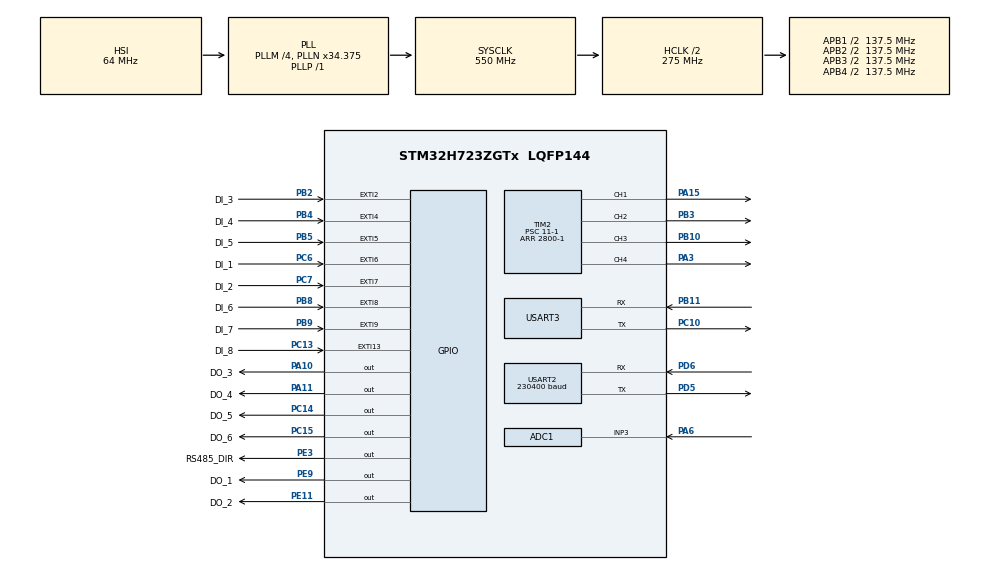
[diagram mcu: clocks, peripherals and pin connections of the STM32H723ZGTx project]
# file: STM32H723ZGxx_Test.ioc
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ADC1.Channel-0\#ChannelRegularConversion=ADC_CHANNEL_3
ADC1.ClockPrescaler=ADC_CLOCK_ASYNC_DIV10
ADC1.NbrOfConversion=1
ADC1.NbrOfConversionFlag=1
ADC1.OffsetNumber-0\#ChannelRegularConversion=ADC_OFFSET_NONE
ADC1.OffsetSignedSaturation-0\#ChannelRegularConversion=DISABLE
ADC1.Rank-0\#ChannelRegularConversion=1
ADC1.Resolution=ADC_RESOLUTION_12B
ADC1.SamplingTime-0\#ChannelRegularConversion=ADC_SAMPLETIME_387CYCLES_5
ADC1.master=1
Dma.Request0=USART2_RX
Dma.Request1=USART2_TX
Dma.USART2_RX.0.Direction=DMA_PERIPH_TO_MEMORY
Dma.USART2_RX.0.EventEnable=DISABLE
Dma.USART2_RX.0.FIFOMode=DMA_FIFOMODE_DISABLE
Dma.USART2_RX.0.Instance=DMA1_Stream0
Dma.USART2_RX.0.MemDataAlignment=DMA_MDATAALIGN_BYTE
Dma.USART2_RX.0.MemInc=DMA_MINC_ENABLE
Dma.USART2_RX.0.Mode=DMA_NORMAL
Dma.USART2_RX.0.PeriphDataAlignment=DMA_PDATAALIGN_BYTE
Dma.USART2_RX.0.PeriphInc=DMA_PINC_DISABLE
Dma.USART2_RX.0.Polarity=HAL_DMAMUX_REQ_GEN_RISING
Dma.USART2_RX.0.Priority=DMA_PRIORITY_VERY_HIGH
Dma.USART2_RX.0.RequestNumber=1
Dma.USART2_RX.0.SignalID=NONE
Dma.USART2_RX.0.SyncEnable=DISABLE
Dma.USART2_RX.0.SyncPolarity=HAL_DMAMUX_SYNC_NO_EVENT
Dma.USART2_RX.0.SyncRequestNumber=1
Dma.USART2_RX.0.SyncSignalID=NONE
Dma.USART2_TX.1.Direction=DMA_MEMORY_TO_PERIPH
Dma.USART2_TX.1.EventEnable=DISABLE
Dma.USART2_TX.1.FIFOMode=DMA_FIFOMODE_DISABLE
Dma.USART2_TX.1.Instance=DMA1_Stream1
Dma.USART2_TX.1.MemDataAlignment=DMA_MDATAALIGN_BYTE
Dma.USART2_TX.1.MemInc=DMA_MINC_ENABLE
Dma.USART2_TX.1.Mode=DMA_NORMAL
Dma.USART2_TX.1.PeriphDataAlignment=DMA_PDATAALIGN_BYTE
Dma.USART2_TX.1.PeriphInc=DMA_PINC_DISABLE
Dma.USART2_TX.1.Polarity=HAL_DMAMUX_REQ_GEN_RISING
Dma.USART2_TX.1.Priority=DMA_PRIORITY_VERY_HIGH
Dma.USART2_TX.1.RequestNumber=1
Dma.USART2_TX.1.SignalID=NONE
Dma.USART2_TX.1.SyncEnable=DISABLE
Dma.USART2_TX.1.SyncPolarity=HAL_DMAMUX_SYNC_NO_EVENT
Dma.USART2_TX.1.SyncRequestNumber=1
Dma.USART2_TX.1.SyncSignalID=NONE
Mcu.Family=STM32H7
Mcu.Name=STM32H723ZGTx
Mcu.Package=LQFP144
NVIC.DMA1_Stream0_IRQn=true\:0\:0\:false\:false\:true\:false\:true
NVIC.DMA1_Stream1_IRQn=true\:0\:0\:false\:false\:true\:false\:true
NVIC.EXTI15_10_IRQn=true\:5\:0\:true\:false\:true\:true\:true
NVIC.EXTI2_IRQn=true\:5\:0\:true\:false\:true\:true\:true
NVIC.EXTI4_IRQn=true\:5\:0\:true\:false\:true\:true\:true
NVIC.EXTI9_5_IRQn=true\:5\:0\:true\:false\:true\:true\:true
NVIC.PriorityGroup=NVIC_PRIORITYGROUP_4
NVIC.TIM4_IRQn=true\:3\:0\:true\:false\:true\:true\:true
NVIC.TIM6_DAC_IRQn=true\:3\:0\:true\:false\:true\:true\:true
NVIC.USART2_IRQn=true\:0\:0\:false\:false\:true\:true\:true
PA10.GPIO_Label=DO_3
PA10.GPIO_Speed=GPIO_SPEED_FREQ_VERY_HIGH
PA10.Signal=GPIO_Output
PA11.GPIO_Label=DO_4
PA11.GPIO_Speed=GPIO_SPEED_FREQ_VERY_HIGH
PA11.Signal=GPIO_Output
PA15(JTDI).Signal=S_TIM2_CH1_ETR
PA3.Signal=S_TIM2_CH4
PA6.Signal=ADCx_INP3
PB10.Signal=S_TIM2_CH3
PB11.Mode=Asynchronous
PB11.Signal=USART3_RX
PB2.GPIO_Label=DI_3
PB2.Signal=GPXTI2
PB3(JTDO/TRACESWO).Signal=S_TIM2_CH2
PB4(NJTRST).GPIO_Label=DI_4
PB4(NJTRST).Signal=GPXTI4
PB5.GPIO_Label=DI_5
PB5.Signal=GPXTI5
PB8.GPIO_Label=DI_6
PB8.Signal=GPXTI8
PB9.GPIO_Label=DI_7
PB9.Signal=GPXTI9
PC10.Mode=Asynchronous
PC10.Signal=USART3_TX
PC13.GPIO_Label=DI_8
PC13.Signal=GPXTI13
PC14-OSC32_IN.GPIO_Label=DO_5
PC14-OSC32_IN.Signal=GPIO_Output
PC15-OSC32_OUT.GPIO_Label=DO_6
PC15-OSC32_OUT.Signal=GPIO_Output
PC6.GPIO_Label=DI_1
PC6.Signal=GPXTI6
PC7.GPIO_Label=DI_2
PC7.Signal=GPXTI7
PD5.GPIO_Speed=GPIO_SPEED_FREQ_VERY_HIGH
PD5.Mode=Asynchronous
PD5.Signal=USART2_TX
PD6.GPIO_Speed=GPIO_SPEED_FREQ_VERY_HIGH
PD6.Mode=Asynchronous
PD6.Signal=USART2_RX
PE11.GPIO_Label=DO_2
PE11.GPIO_Speed=GPIO_SPEED_FREQ_VERY_HIGH
PE11.Signal=GPIO_Output
PE3.GPIO_Label=RS485_DIR
PE3.GPIO_Speed=GPIO_SPEED_FREQ_VERY_HIGH
PE3.Signal=GPIO_Output
PE9.GPIO_Label=DO_1
PE9.GPIO_Speed=GPIO_SPEED_FREQ_VERY_HIGH
PE9.Signal=GPIO_Output
ProjectManager.HeapSize=0x200
ProjectManager.StackSize=0x400
ProjectManager.TargetToolchain=STM32CubeIDE
RCC.ADCFreq_Value=96000000
RCC.APB1Freq_Value=137500000
RCC.APB2Freq_Value=137500000
RCC.APB3Freq_Value=137500000
RCC.APB4Freq_Value=137500000
RCC.CortexFreq_Value=550000000
RCC.D1PPRE=RCC_APB3_DIV2
RCC.D2PPRE1=RCC_APB1_DIV2
RCC.D2PPRE2=RCC_APB2_DIV2
RCC.D3PPRE=RCC_APB4_DIV2
RCC.DIVM1=4
RCC.DIVM2=4
RCC.DIVN1=34
RCC.DIVN2=12
RCC.DIVP1=1
RCC.HCLKFreq_Value=275000000
RCC.HPRE=RCC_HCLK_DIV2
RCC.PLL2FRACN=0
RCC.PLLFRACN=3072
RCC.SYSCLKFreq_VALUE=550000000
RCC.SYSCLKSource=RCC_SYSCLKSOURCE_PLLCLK
RCC.USBFreq_Value=275000000
SH.ADCx_INP3.0=ADC1_INP3,IN3-Single-Ended
SH.S_TIM2_CH1_ETR.0=TIM2_CH1,PWM Generation1 CH1
SH.S_TIM2_CH2.0=TIM2_CH2,PWM Generation2 CH2
SH.S_TIM2_CH3.0=TIM2_CH3,PWM Generation3 CH3
SH.S_TIM2_CH4.0=TIM2_CH4,PWM Generation4 CH4
TIM2.Channel-PWM\ Generation1\ CH1=TIM_CHANNEL_1
TIM2.Channel-PWM\ Generation2\ CH2=TIM_CHANNEL_2
TIM2.Channel-PWM\ Generation3\ CH3=TIM_CHANNEL_3
TIM2.Channel-PWM\ Generation4\ CH4=TIM_CHANNEL_4
TIM2.Period=2800-1
TIM2.Prescaler=11-1
TIM2.TIM_MasterOutputTrigger=TIM_TRGO_ENABLE
TIM4.Period=1563
TIM4.Prescaler=275-1
TIM6.Period=3647
TIM6.Prescaler=275-1
USART2.BaudRate=230400
USART2.OverSampling=UART_OVERSAMPLING_8
USART2.Parity=PARITY_EVEN
USART2.VirtualMode-Asynchronous=VM_ASYNC
USART2.WordLength=WORDLENGTH_9B
USART3.VirtualMode-Asynchronous=VM_ASYNC
VP_TIM2_VS_ClockSourceINT.Mode=Internal
VP_TIM4_VS_ClockSourceINT.Mode=Internal
VP_TIM6_VS_ClockSourceINT.Mode=Enable_Timer
board=custom

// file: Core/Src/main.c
/* USER CODE BEGIN Header */
/**
  ******************************************************************************
  * @file           : main.c
  * @brief          : Main program body
  ******************************************************************************
  * @attention
  *
  * Copyright (c) 2024 STMicroelectronics.
  * All rights reserved.
  *
  * This software is licensed under terms that can be found in the LICENSE file
  * in the root directory of this software component.
  * If no LICENSE file comes with this software, it is provided AS-IS.
  *
  ******************************************************************************
  */
/* USER CODE END Header */
#include "main.h"

/* USER CODE BEGIN Includes */
#include "stdio.h"
#include "string.h"
/* USER CODE END Includes */

ADC_HandleTypeDef hadc1;

TIM_HandleTypeDef htim2;
TIM_HandleTypeDef htim4;
TIM_HandleTypeDef htim6;

UART_HandleTypeDef huart2;
UART_HandleTypeDef huart3;
DMA_HandleTypeDef hdma_usart2_rx;
DMA_HandleTypeDef hdma_usart2_tx;

void SystemClock_Config(void);
static void MX_GPIO_Init(void);
static void MX_ADC1_Init(void);
static void MX_USART3_UART_Init(void);
static void MX_TIM2_Init(void);
static void MX_USART2_UART_Init(void);
static void MX_TIM4_Init(void);
static void MX_DMA_Init(void);
static void MX_TIM6_Init(void);

/* USER CODE BEGIN 0 */

void ADC_Select_CH0 (void)
{
	ADC_ChannelConfTypeDef sConfig = {0};
	  /** Configure for the selected ADC regular channel its corresponding rank in the sequencer and its sample time.
	  */
	  sConfig.Channel = ADC_CHANNEL_3;
	  sConfig.Rank = ADC_REGULAR_RANK_1;
	  sConfig.SamplingTime = ADC_SAMPLETIME_64CYCLES_5;
	  sConfig.SingleDiff = ADC_SINGLE_ENDED;
	  sConfig.OffsetNumber = ADC_OFFSET_NONE;
	  sConfig.Offset = 0;
	  sConfig.OffsetSignedSaturation = DISABLE;
	  if (HAL_ADC_ConfigChannel(&hadc1, &sConfig) != HAL_OK)
	  {
	    Error_Handler();
	  }
}

void ADC_Select_CH1 (void)
{
	ADC_ChannelConfTypeDef sConfig = {0};
	  /** Configure for the selected ADC regular channel its corresponding rank in the sequencer and its sample time.
	  */
	  sConfig.Channel = ADC_CHANNEL_5;
	  sConfig.Rank = ADC_REGULAR_RANK_1;
	  sConfig.SamplingTime = ADC_SAMPLETIME_64CYCLES_5;
	  sConfig.SingleDiff = ADC_SINGLE_ENDED;
	  sConfig.OffsetNumber = ADC_OFFSET_NONE;
	  sConfig.Offset = 0;
	  sConfig.OffsetSignedSaturation = DISABLE;
	  if (HAL_ADC_ConfigChannel(&hadc1, &sConfig) != HAL_OK)
	  {
	    Error_Handler();
	  }
}

void HAL_UART_TxCpltCallback(UART_HandleTypeDef* huart){
	uint8_t pData[10] = {0};
	uint8_t len;
	len = sprintf((char*)pData,"RTU_TXC\r\n");
	HAL_UART_Transmit(&huart3, pData, len, len);
	HAL_GPIO_WritePin(RS485_DIR_GPIO_Port, RS485_DIR_Pin, GPIO_PIN_RESET);
}

/* USER CODE END 0 */

int main(void)
{

  /* MCU Configuration--------------------------------------------------------*/

  /* Reset of all peripherals, Initializes the Flash interface and the Systick. */
  HAL_Init();

  /* Configure the system clock */
  SystemClock_Config();

  /* USER CODE BEGIN SysInit */
  MX_DMA_Init();
  /* USER CODE END SysInit */

  /* Initialize all configured peripherals */
  MX_GPIO_Init();
  MX_ADC1_Init();
  MX_USART3_UART_Init();
  MX_TIM2_Init();
  MX_USART2_UART_Init();
  MX_TIM4_Init();

  MX_TIM6_Init();
  /* USER CODE BEGIN 2 */
  uint16_t duty = 0;
  uint8_t pData[100] = {0};
  uint16_t len = 0;
uint32_t tick = 0;
uint16_t ADC_VAL[2] = {0};
len = sprintf((char*)pData,"Started...\r\n");
HAL_UART_Transmit(&huart3,pData , len, len+2);

	HAL_StatusTypeDef status =  HAL_ADCEx_Calibration_Start(&hadc1, ADC_CALIB_OFFSET_LINEARITY, ADC_SINGLE_ENDED);

	if(status != HAL_OK){
		len = sprintf((char*)pData,"status1: %d\r\n", status);
		HAL_UART_Transmit(&huart3, pData, len, 10);
	}

	status =  HAL_ADC_Start(&hadc1);
	if(status != HAL_OK){
		len = sprintf((char*)pData,"status2: %d\r\n", status);
		HAL_UART_Transmit(&huart3, pData, len, 10);
	}
	status =  HAL_ADC_PollForConversion(&hadc1, 10);
	if(status != HAL_OK){
		len = sprintf((char*)pData,"status3: %d\r\n", status);
		HAL_UART_Transmit(&huart3, pData, len, 10);
	}
	ADC_VAL[0] = HAL_ADC_GetValue(&hadc1);
//	HAL_ADC_Stop(&hadc1);
	len = sprintf((char*)pData,"ADC: %d\r\n", ADC_VAL[0]);
	HAL_UART_Transmit(&huart3, pData, len, 10);

	HAL_UARTEx_ReceiveToIdle_DMA(&huart2,  pData, 100);
	HAL_TIM_Base_Start_IT(&htim4);
	HAL_TIM_Base_Start_IT(&htim6);
  /* USER CODE END 2 */

  /* Infinite loop */
  /* USER CODE BEGIN WHILE */
  while (1)
  {
	  if(HAL_GetTick() - tick >= 3000){

		  HAL_GPIO_WritePin(RS485_DIR_GPIO_Port, RS485_DIR_Pin, GPIO_PIN_SET);
		  HAL_Delay(1);
//		  HAL_UART_Transmit(&huart2, (uint8_t *)"Test\r\n", 6, 10);
		  HAL_UART_Transmit_DMA(&huart2, (uint8_t *)"Test\r\n", 6);
		  HAL_Delay(100);
		  HAL_GPIO_WritePin(RS485_DIR_GPIO_Port, RS485_DIR_Pin, GPIO_PIN_RESET);

		  HAL_UART_Transmit_DMA(&huart3, pData, 6);

		  duty= 1000;
		  if(duty >= 4096) duty = 0;
		  htim2.Instance->CCR1 = duty;
//		  HAL_TIM_PWM_Start(&htim2, TIM_CHANNEL_1);

			ADC_VAL[0] = HAL_ADC_GetValue(&hadc1);
		//	HAL_ADC_Stop(&hadc1);
			len = sprintf((char*)pData,"ADC: %d\r\n", ADC_VAL[0]);
			HAL_UART_Transmit(&huart3, pData, len, 10);

//		  HAL_GPIO_TogglePin(DO_1_GPIO_Port, DO_1_Pin);
//		  HAL_GPIO_TogglePin(DO_2_GPIO_Port, DO_2_Pin);
		  HAL_GPIO_TogglePin(DO_5_GPIO_Port, DO_5_Pin);
		  HAL_GPIO_TogglePin(DO_6_GPIO_Port, DO_6_Pin);
//		  ADC_Select_CH0();

		  tick = HAL_GetTick();
	  }

    /* USER CODE END WHILE */

  }
}

void SystemClock_Config(void)
{
  RCC_OscInitTypeDef RCC_OscInitStruct = {0};
  RCC_ClkInitTypeDef RCC_ClkInitStruct = {0};

  /** Supply configuration update enable
  */
  HAL_PWREx_ConfigSupply(PWR_LDO_SUPPLY);
  /** Configure the main internal regulator output voltage
  */
  __HAL_PWR_VOLTAGESCALING_CONFIG(PWR_REGULATOR_VOLTAGE_SCALE0);

  while(!__HAL_PWR_GET_FLAG(PWR_FLAG_VOSRDY)) {}
  /** Macro to configure the PLL clock source
  */
  __HAL_RCC_PLL_PLLSOURCE_CONFIG(RCC_PLLSOURCE_HSI);
  /** Initializes the RCC Oscillators according to the specified parameters
  * in the RCC_OscInitTypeDef structure.
  */
  RCC_OscInitStruct.OscillatorType = RCC_OSCILLATORTYPE_HSI;
  RCC_OscInitStruct.HSIState = RCC_HSI_DIV1;
  RCC_OscInitStruct.HSICalibrationValue = RCC_HSICALIBRATION_DEFAULT;
  RCC_OscInitStruct.PLL.PLLState = RCC_PLL_ON;
  RCC_OscInitStruct.PLL.PLLSource = RCC_PLLSOURCE_HSI;
  RCC_OscInitStruct.PLL.PLLM = 4;
  RCC_OscInitStruct.PLL.PLLN = 34;
  RCC_OscInitStruct.PLL.PLLP = 1;
  RCC_OscInitStruct.PLL.PLLQ = 2;
  RCC_OscInitStruct.PLL.PLLR = 2;
  RCC_OscInitStruct.PLL.PLLRGE = RCC_PLL1VCIRANGE_3;
  RCC_OscInitStruct.PLL.PLLVCOSEL = RCC_PLL1VCOWIDE;
  RCC_OscInitStruct.PLL.PLLFRACN = 3072;
  if (HAL_RCC_OscConfig(&RCC_OscInitStruct) != HAL_OK)
  {
    Error_Handler();
  }
  /** Initializes the CPU, AHB and APB buses clocks
  */
  RCC_ClkInitStruct.ClockType = RCC_CLOCKTYPE_HCLK|RCC_CLOCKTYPE_SYSCLK
                              |RCC_CLOCKTYPE_PCLK1|RCC_CLOCKTYPE_PCLK2
                              |RCC_CLOCKTYPE_D3PCLK1|RCC_CLOCKTYPE_D1PCLK1;
  RCC_ClkInitStruct.SYSCLKSource = RCC_SYSCLKSOURCE_PLLCLK;
  RCC_ClkInitStruct.SYSCLKDivider = RCC_SYSCLK_DIV1;
  RCC_ClkInitStruct.AHBCLKDivider = RCC_HCLK_DIV2;
  RCC_ClkInitStruct.APB3CLKDivider = RCC_APB3_DIV2;
  RCC_ClkInitStruct.APB1CLKDivider = RCC_APB1_DIV2;
  RCC_ClkInitStruct.APB2CLKDivider = RCC_APB2_DIV2;
  RCC_ClkInitStruct.APB4CLKDivider = RCC_APB4_DIV2;

  if (HAL_RCC_ClockConfig(&RCC_ClkInitStruct, FLASH_LATENCY_3) != HAL_OK)
  {
    Error_Handler();
  }
}

static void MX_ADC1_Init(void)
{

  ADC_MultiModeTypeDef multimode = {0};
  ADC_ChannelConfTypeDef sConfig = {0};

  /** Common config
  */
  hadc1.Instance = ADC1;
  hadc1.Init.ClockPrescaler = ADC_CLOCK_ASYNC_DIV10;
  hadc1.Init.Resolution = ADC_RESOLUTION_12B;
  hadc1.Init.ScanConvMode = ADC_SCAN_DISABLE;
  hadc1.Init.EOCSelection = ADC_EOC_SINGLE_CONV;
  hadc1.Init.LowPowerAutoWait = DISABLE;
  hadc1.Init.ContinuousConvMode = DISABLE;
  hadc1.Init.NbrOfConversion = 1;
  hadc1.Init.DiscontinuousConvMode = DISABLE;
  hadc1.Init.ExternalTrigConv = ADC_SOFTWARE_START;
  hadc1.Init.ExternalTrigConvEdge = ADC_EXTERNALTRIGCONVEDGE_NONE;
  hadc1.Init.ConversionDataManagement = ADC_CONVERSIONDATA_DR;
  hadc1.Init.Overrun = ADC_OVR_DATA_PRESERVED;
  hadc1.Init.LeftBitShift = ADC_LEFTBITSHIFT_NONE;
  hadc1.Init.OversamplingMode = DISABLE;
  if (HAL_ADC_Init(&hadc1) != HAL_OK)
  {
    Error_Handler();
  }
  /** Configure the ADC multi-mode
  */
  multimode.Mode = ADC_MODE_INDEPENDENT;
  if (HAL_ADCEx_MultiModeConfigChannel(&hadc1, &multimode) != HAL_OK)
  {
    Error_Handler();
  }
  /** Configure Regular Channel
  */
  sConfig.Channel = ADC_CHANNEL_3;
  sConfig.Rank = ADC_REGULAR_RANK_1;
  sConfig.SamplingTime = ADC_SAMPLETIME_387CYCLES_5;
  sConfig.SingleDiff = ADC_SINGLE_ENDED;
  sConfig.OffsetNumber = ADC_OFFSET_NONE;
  sConfig.Offset = 0;
  sConfig.OffsetSignedSaturation = DISABLE;
  if (HAL_ADC_ConfigChannel(&hadc1, &sConfig) != HAL_OK)
  {
    Error_Handler();
  }

}

static void MX_TIM2_Init(void)
{

  TIM_ClockConfigTypeDef sClockSourceConfig = {0};
  TIM_MasterConfigTypeDef sMasterConfig = {0};
  TIM_OC_InitTypeDef sConfigOC = {0};

  htim2.Instance = TIM2;
  htim2.Init.Prescaler = 11-1;
  htim2.Init.CounterMode = TIM_COUNTERMODE_UP;
  htim2.Init.Period = 2800-1;
  htim2.Init.ClockDivision = TIM_CLOCKDIVISION_DIV1;
  htim2.Init.AutoReloadPreload = TIM_AUTORELOAD_PRELOAD_DISABLE;
  if (HAL_TIM_Base_Init(&htim2) != HAL_OK)
  {
    Error_Handler();
  }
  sClockSourceConfig.ClockSource = TIM_CLOCKSOURCE_INTERNAL;
  if (HAL_TIM_ConfigClockSource(&htim2, &sClockSourceConfig) != HAL_OK)
  {
    Error_Handler();
  }
  if (HAL_TIM_PWM_Init(&htim2) != HAL_OK)
  {
    Error_Handler();
  }
  sMasterConfig.MasterOutputTrigger = TIM_TRGO_ENABLE;
  sMasterConfig.MasterSlaveMode = TIM_MASTERSLAVEMODE_DISABLE;
  if (HAL_TIMEx_MasterConfigSynchronization(&htim2, &sMasterConfig) != HAL_OK)
  {
    Error_Handler();
  }
  sConfigOC.OCMode = TIM_OCMODE_PWM1;
  sConfigOC.Pulse = 0;
  sConfigOC.OCPolarity = TIM_OCPOLARITY_HIGH;
  sConfigOC.OCFastMode = TIM_OCFAST_DISABLE;
  if (HAL_TIM_PWM_ConfigChannel(&htim2, &sConfigOC, TIM_CHANNEL_1) != HAL_OK)
  {
    Error_Handler();
  }
  if (HAL_TIM_PWM_ConfigChannel(&htim2, &sConfigOC, TIM_CHANNEL_2) != HAL_OK)
  {
    Error_Handler();
  }
  if (HAL_TIM_PWM_ConfigChannel(&htim2, &sConfigOC, TIM_CHANNEL_3) != HAL_OK)
  {
    Error_Handler();
  }
  if (HAL_TIM_PWM_ConfigChannel(&htim2, &sConfigOC, TIM_CHANNEL_4) != HAL_OK)
  {
    Error_Handler();
  }
  HAL_TIM_MspPostInit(&htim2);

}

static void MX_TIM4_Init(void)
{

  TIM_ClockConfigTypeDef sClockSourceConfig = {0};
  TIM_MasterConfigTypeDef sMasterConfig = {0};

  htim4.Instance = TIM4;
  htim4.Init.Prescaler = 275-1;
  htim4.Init.CounterMode = TIM_COUNTERMODE_UP;
  htim4.Init.Period = 1563;
  htim4.Init.ClockDivision = TIM_CLOCKDIVISION_DIV1;
  htim4.Init.AutoReloadPreload = TIM_AUTORELOAD_PRELOAD_DISABLE;
  if (HAL_TIM_Base_Init(&htim4) != HAL_OK)
  {
    Error_Handler();
  }
  sClockSourceConfig.ClockSource = TIM_CLOCKSOURCE_INTERNAL;
  if (HAL_TIM_ConfigClockSource(&htim4, &sClockSourceConfig) != HAL_OK)
  {
    Error_Handler();
  }
  sMasterConfig.MasterOutputTrigger = TIM_TRGO_RESET;
  sMasterConfig.MasterSlaveMode = TIM_MASTERSLAVEMODE_DISABLE;
  if (HAL_TIMEx_MasterConfigSynchronization(&htim4, &sMasterConfig) != HAL_OK)
  {
    Error_Handler();
  }

}

static void MX_TIM6_Init(void)
{

  TIM_MasterConfigTypeDef sMasterConfig = {0};

  htim6.Instance = TIM6;
  htim6.Init.Prescaler = 275-1;
  htim6.Init.CounterMode = TIM_COUNTERMODE_UP;
  htim6.Init.Period = 3647;
  htim6.Init.AutoReloadPreload = TIM_AUTORELOAD_PRELOAD_DISABLE;
  if (HAL_TIM_Base_Init(&htim6) != HAL_OK)
  {
    Error_Handler();
  }
  sMasterConfig.MasterOutputTrigger = TIM_TRGO_RESET;
  sMasterConfig.MasterSlaveMode = TIM_MASTERSLAVEMODE_DISABLE;
  if (HAL_TIMEx_MasterConfigSynchronization(&htim6, &sMasterConfig) != HAL_OK)
  {
    Error_Handler();
  }

}

static void MX_USART2_UART_Init(void)
{

  huart2.Instance = USART2;
  huart2.Init.BaudRate = 230400;
  huart2.Init.WordLength = UART_WORDLENGTH_9B;
  huart2.Init.StopBits = UART_STOPBITS_1;
  huart2.Init.Parity = UART_PARITY_EVEN;
  huart2.Init.Mode = UART_MODE_TX_RX;
  huart2.Init.HwFlowCtl = UART_HWCONTROL_NONE;
  huart2.Init.OverSampling = UART_OVERSAMPLING_8;
  huart2.Init.OneBitSampling = UART_ONE_BIT_SAMPLE_DISABLE;
  huart2.Init.ClockPrescaler = UART_PRESCALER_DIV1;
  huart2.AdvancedInit.AdvFeatureInit = UART_ADVFEATURE_NO_INIT;
  if (HAL_UART_Init(&huart2) != HAL_OK)
  {
    Error_Handler();
  }
  if (HAL_UARTEx_SetTxFifoThreshold(&huart2, UART_TXFIFO_THRESHOLD_1_8) != HAL_OK)
  {
    Error_Handler();
  }
  if (HAL_UARTEx_SetRxFifoThreshold(&huart2, UART_RXFIFO_THRESHOLD_1_8) != HAL_OK)
  {
    Error_Handler();
  }
  if (HAL_UARTEx_DisableFifoMode(&huart2) != HAL_OK)
  {
    Error_Handler();
  }

}

static void MX_USART3_UART_Init(void)
{

  huart3.Instance = USART3;
  huart3.Init.BaudRate = 115200;
  huart3.Init.WordLength = UART_WORDLENGTH_8B;
  huart3.Init.StopBits = UART_STOPBITS_1;
  huart3.Init.Parity = UART_PARITY_NONE;
  huart3.Init.Mode = UART_MODE_TX_RX;
  huart3.Init.HwFlowCtl = UART_HWCONTROL_NONE;
  huart3.Init.OverSampling = UART_OVERSAMPLING_16;
  huart3.Init.OneBitSampling = UART_ONE_BIT_SAMPLE_DISABLE;
  huart3.Init.ClockPrescaler = UART_PRESCALER_DIV1;
  huart3.AdvancedInit.AdvFeatureInit = UART_ADVFEATURE_NO_INIT;
  if (HAL_UART_Init(&huart3) != HAL_OK)
  {
    Error_Handler();
  }
  if (HAL_UARTEx_SetTxFifoThreshold(&huart3, UART_TXFIFO_THRESHOLD_1_8) != HAL_OK)
  {
    Error_Handler();
  }
  if (HAL_UARTEx_SetRxFifoThreshold(&huart3, UART_RXFIFO_THRESHOLD_1_8) != HAL_OK)
  {
    Error_Handler();
  }
  if (HAL_UARTEx_DisableFifoMode(&huart3) != HAL_OK)
  {
    Error_Handler();
  }

}

static void MX_DMA_Init(void)
{

  /* DMA controller clock enable */
  __HAL_RCC_DMA1_CLK_ENABLE();

  /* DMA interrupt init */
  /* DMA1_Stream0_IRQn interrupt configuration */
  HAL_NVIC_SetPriority(DMA1_Stream0_IRQn, 0, 0);
  HAL_NVIC_EnableIRQ(DMA1_Stream0_IRQn);
  /* DMA1_Stream1_IRQn interrupt configuration */
  HAL_NVIC_SetPriority(DMA1_Stream1_IRQn, 0, 0);
  HAL_NVIC_EnableIRQ(DMA1_Stream1_IRQn);

}

static void MX_GPIO_Init(void)
{
  GPIO_InitTypeDef GPIO_InitStruct = {0};

  /* GPIO Ports Clock Enable */
  __HAL_RCC_GPIOE_CLK_ENABLE();
  __HAL_RCC_GPIOC_CLK_ENABLE();
  __HAL_RCC_GPIOA_CLK_ENABLE();
  __HAL_RCC_GPIOB_CLK_ENABLE();
  __HAL_RCC_GPIOD_CLK_ENABLE();

  /*Configure GPIO pin Output Level */
  HAL_GPIO_WritePin(GPIOE, RS485_DIR_Pin|DO_1_Pin|DO_2_Pin, GPIO_PIN_RESET);

  /*Configure GPIO pin Output Level */
  HAL_GPIO_WritePin(GPIOC, DO_5_Pin|DO_6_Pin, GPIO_PIN_RESET);

  /*Configure GPIO pin Output Level */
  HAL_GPIO_WritePin(GPIOA, DO_3_Pin|DO_4_Pin, GPIO_PIN_RESET);

  /*Configure GPIO pins : RS485_DIR_Pin DO_1_Pin DO_2_Pin */
  GPIO_InitStruct.Pin = RS485_DIR_Pin|DO_1_Pin|DO_2_Pin;
  GPIO_InitStruct.Mode = GPIO_MODE_OUTPUT_PP;
  GPIO_InitStruct.Pull = GPIO_NOPULL;
  GPIO_InitStruct.Speed = GPIO_SPEED_FREQ_VERY_HIGH;
  HAL_GPIO_Init(GPIOE, &GPIO_InitStruct);

  /*Configure GPIO pins : DI_8_Pin DI_1_Pin DI_2_Pin */
  GPIO_InitStruct.Pin = DI_8_Pin|DI_1_Pin|DI_2_Pin;
  GPIO_InitStruct.Mode = GPIO_MODE_IT_RISING;
  GPIO_InitStruct.Pull = GPIO_NOPULL;
  HAL_GPIO_Init(GPIOC, &GPIO_InitStruct);

  /*Configure GPIO pins : DO_5_Pin DO_6_Pin */
  GPIO_InitStruct.Pin = DO_5_Pin|DO_6_Pin;
  GPIO_InitStruct.Mode = GPIO_MODE_OUTPUT_PP;
  GPIO_InitStruct.Pull = GPIO_NOPULL;
  GPIO_InitStruct.Speed = GPIO_SPEED_FREQ_LOW;
  HAL_GPIO_Init(GPIOC, &GPIO_InitStruct);

  /*Configure GPIO pins : DI_3_Pin DI_4_Pin DI_5_Pin DI_6_Pin
                           DI_7_Pin */
  GPIO_InitStruct.Pin = DI_3_Pin|DI_4_Pin|DI_5_Pin|DI_6_Pin
                          |DI_7_Pin;
  GPIO_InitStruct.Mode = GPIO_MODE_IT_RISING;
  GPIO_InitStruct.Pull = GPIO_NOPULL;
  HAL_GPIO_Init(GPIOB, &GPIO_InitStruct);

  /*Configure GPIO pins : DO_3_Pin DO_4_Pin */
  GPIO_InitStruct.Pin = DO_3_Pin|DO_4_Pin;
  GPIO_InitStruct.Mode = GPIO_MODE_OUTPUT_PP;
  GPIO_InitStruct.Pull = GPIO_NOPULL;
  GPIO_InitStruct.Speed = GPIO_SPEED_FREQ_VERY_HIGH;
  HAL_GPIO_Init(GPIOA, &GPIO_InitStruct);

  /* EXTI interrupt init*/
  HAL_NVIC_SetPriority(EXTI2_IRQn, 5, 0);
  HAL_NVIC_EnableIRQ(EXTI2_IRQn);

  HAL_NVIC_SetPriority(EXTI4_IRQn, 5, 0);
  HAL_NVIC_EnableIRQ(EXTI4_IRQn);

  HAL_NVIC_SetPriority(EXTI9_5_IRQn, 5, 0);
  HAL_NVIC_EnableIRQ(EXTI9_5_IRQn);

  HAL_NVIC_SetPriority(EXTI15_10_IRQn, 5, 0);
  HAL_NVIC_EnableIRQ(EXTI15_10_IRQn);

}

void Error_Handler(void)
{
  __disable_irq();
  while (1)
  {
  }
}
